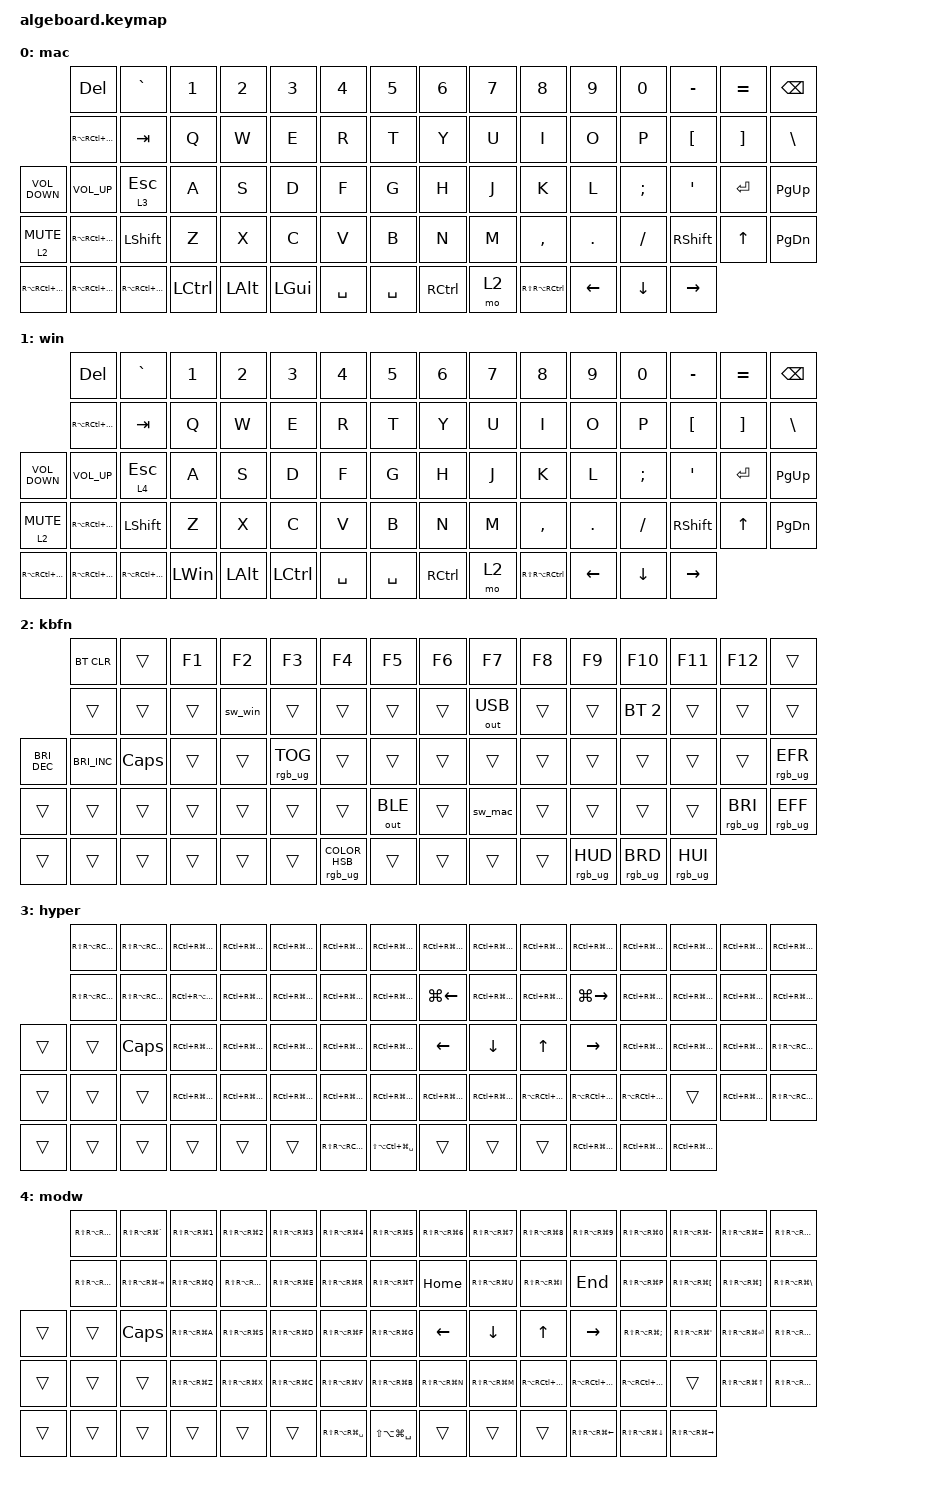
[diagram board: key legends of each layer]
/*
 * Copyright (c) 2020 The ZMK Contributors
 *
 * SPDX-License-Identifier: MIT
 */

#include <behaviors.dtsi>
#include <dt-bindings/zmk/bt.h>
#include <dt-bindings/zmk/keys.h>
#include <dt-bindings/zmk/outputs.h>
#include <dt-bindings/zmk/rgb.h>

/ {
    combos {
        compatible = "zmk,combos";

        hg_minus {
            bindings = <&kp MINUS>;
            key-positions = <37 38>;
        };

        xh_underscore {
            bindings = <&kp UNDERSCORE>;
            key-positions = <50 38>;
        };

        js_plus {
            bindings = <&kp PLUS>;
            key-positions = <34 39>;
        };

        dy_equal {
            bindings = <&kp EQUAL>;
            key-positions = <35 22>;
        };

        dk_lbrace {
            bindings = <&kp LEFT_BRACE>;
            key-positions = <35 40>;
        };

        dl_rbrace {
            bindings = <&kp RIGHT_BRACE>;
            key-positions = <35 41>;
        };

        vk_lbracket {
            bindings = <&kp LEFT_BRACKET>;
            key-positions = <52 40>;
        };

        vl_rbracket {
            bindings = <&kp RIGHT_BRACKET>;
            key-positions = <52 41>;
        };

        xk_lparenthesis {
            bindings = <&kp LEFT_PARENTHESIS>;
            key-positions = <50 40>;
        };

        xl_rparenthesis {
            bindings = <&kp RIGHT_PARENTHESIS>;
            key-positions = <50 41>;
        };

        vy_backslash {
            bindings = <&kp BACKSLASH>;
            key-positions = <52 22>;
        };

        ux_pipe {
            bindings = <&kp PIPE>;
            key-positions = <50 23>;
        };

        dm_grave {
            bindings = <&kp GRAVE>;
            key-positions = <35 55>;
        };

        bl_tide {
            bindings = <&kp TILDE>;
            key-positions = <53 41>;
        };
    };

    macros {
        sw_win: switchto_win {
            compatible = "zmk,behavior-macro";
            #binding-cells = <0>;
            bindings = <&kp LG(LA(F11)) &to 1 &bt BT_SEL 1>;
            label = "SWITCHTO_WIN";
        };

        sw_mac: switchto_mac {
            compatible = "zmk,behavior-macro";
            #binding-cells = <0>;
            bindings = <&kp LC(LA(F11)) &to 0 &bt BT_SEL 0>;
            label = "SWITCHTO_MAC";
        };
    };

    keymap {
        compatible = "zmk,keymap";

        mac {
            bindings = <
                      &kp DEL                   &kp GRAVE              &kp N1     &kp N2    &kp N3    &kp N4     &kp N5     &kp N6     &kp N7  &kp N8             &kp N9    &kp N0     &kp MINUS   &kp EQUAL  &kp BACKSPACE
                      &kp RA(RC(RG(DELETE)))    &kp TAB                &kp Q      &kp W     &kp E     &kp R      &kp T      &kp Y      &kp U   &kp I              &kp O     &kp P      &kp LBKT    &kp RBKT   &kp BACKSLASH
&kp C_VOLUME_DOWN     &kp C_VOLUME_UP           &lt 3 ESCAPE           &kp A      &kp S     &kp D     &kp F      &kp G      &kp H      &kp J   &kp K              &kp L     &kp SEMI   &kp SQT     &kp ENTER  &kp PG_UP
&lt 2 C_MUTE          &kp RA(RC(RG(UP_ARROW)))  &kp LSHIFT             &kp Z      &kp X     &kp C     &kp V      &kp B      &kp N      &kp M   &kp COMMA          &kp DOT   &kp SLASH  &kp RSHIFT  &kp UP     &kp PG_DN
&kp RA(RC(RG(LEFT)))  &kp RA(RC(RG(DOWN)))      &kp RA(RC(RG(RIGHT)))  &kp LCTRL  &kp LALT  &kp LGUI  &kp SPACE  &kp SPACE  &kp RCTRL  &mo 2   &kp RS(RA(RCTRL))  &kp LEFT  &kp DOWN   &kp RIGHT
            >;
        };

        win {
            bindings = <
                      &kp DEL                   &kp GRAVE              &kp N1    &kp N2    &kp N3     &kp N4     &kp N5     &kp N6     &kp N7  &kp N8             &kp N9    &kp N0     &kp MINUS   &kp EQUAL  &kp BACKSPACE
                      &kp RA(RC(RG(DELETE)))    &kp TAB                &kp Q     &kp W     &kp E      &kp R      &kp T      &kp Y      &kp U   &kp I              &kp O     &kp P      &kp LBKT    &kp RBKT   &kp BACKSLASH
&kp C_VOLUME_DOWN     &kp C_VOLUME_UP           &lt 4 ESCAPE           &kp A     &kp S     &kp D      &kp F      &kp G      &kp H      &kp J   &kp K              &kp L     &kp SEMI   &kp SQT     &kp ENTER  &kp PG_UP
&lt 2 C_MUTE          &kp RA(RC(RG(UP_ARROW)))  &kp LSHIFT             &kp Z     &kp X     &kp C      &kp V      &kp B      &kp N      &kp M   &kp COMMA          &kp DOT   &kp SLASH  &kp RSHIFT  &kp UP     &kp PG_DN
&kp RA(RC(RG(LEFT)))  &kp RA(RC(RG(DOWN)))      &kp RA(RC(RG(RIGHT)))  &kp LWIN  &kp LALT  &kp LCTRL  &kp SPACE  &kp SPACE  &kp RCTRL  &mo 2   &kp RS(RA(RCTRL))  &kp LEFT  &kp DOWN   &kp RIGHT
            >;
        };

        kbfn {
            bindings = <
                      &bt BT_CLR            &trans    &kp F1  &kp F2   &kp F3           &kp F4                          &kp F5        &kp F6  &kp F7        &kp F8  &kp F9           &kp F10          &kp F11          &kp F12          &trans
                      &trans                &trans    &trans  &sw_win  &trans           &trans                          &trans        &trans  &out OUT_USB  &trans  &trans           &bt BT_SEL 2     &trans           &trans           &trans
&kp C_BRIGHTNESS_DEC  &kp C_BRIGHTNESS_INC  &kp CAPS  &trans  &trans   &rgb_ug RGB_TOG  &trans                          &trans        &trans  &trans        &trans  &trans           &trans           &trans           &trans           &rgb_ug RGB_EFR
&trans                &trans                &trans    &trans  &trans   &trans           &trans                          &out OUT_BLE  &trans  &sw_mac       &trans  &trans           &trans           &trans           &rgb_ug RGB_BRI  &rgb_ug RGB_EFF
&trans                &trans                &trans    &trans  &trans   &trans           &rgb_ug RGB_COLOR_HSB(0,0,100)  &trans        &trans  &trans        &trans  &rgb_ug RGB_HUD  &rgb_ug RGB_BRD  &rgb_ug RGB_HUI
            >;
        };

        hyper {
            bindings = <
        &kp RS(RA(RC(RG(DELETE))))       &kp RS(RA(RC(RG(GRAVE))))  &kp RC(RG(RA(RS(N1))))  &kp RC(RG(RA(RS(N2))))  &kp RC(RG(RA(RS(N3))))  &kp RC(RG(RA(RS(N4))))     &kp RC(RG(RA(RS(N5))))     &kp RC(RG(RA(RS(N6))))  &kp RC(RG(RA(RS(N7))))  &kp RC(RG(RA(RS(N8))))  &kp RC(RG(RA(RS(N9))))    &kp RC(RG(RA(RS(N0))))    &kp RC(RG(RA(RS(MINUS))))  &kp RC(RG(RA(RS(EQUAL))))  &kp RC(RG(RA(RS(BACKSPACE))))
        &kp RS(RA(RC(RG(PRINTSCREEN))))  &kp RS(RA(RC(RG(TAB))))    &kp RC(RA(RS(Q)))       &kp RC(RG(RA(RS(W))))   &kp RC(RG(RA(RS(E))))   &kp RC(RG(RA(RS(R))))      &kp RC(RG(RA(RS(T))))      &kp LG(LEFT)            &kp RC(RG(RA(RS(U))))   &kp RC(RG(RA(RS(I))))   &kp LG(RIGHT)             &kp RC(RG(RA(RS(P))))     &kp RC(RG(RA(RS(LBKT))))   &kp RC(RG(RA(RS(RBKT))))   &kp RC(RG(RA(RS(BACKSLASH))))
&trans  &trans                           &kp CAPS                   &kp RC(RG(RA(RS(A))))   &kp RC(RG(RA(RS(S))))   &kp RC(RG(RA(RS(D))))   &kp RC(RG(RA(RS(F))))      &kp RC(RG(RA(RS(G))))      &kp LEFT                &kp DOWN                &kp UP                  &kp RIGHT                 &kp RC(RG(RA(RS(SEMI))))  &kp RC(RG(RA(RS(SQT))))    &kp RC(RG(RA(RS(ENTER))))  &kp RS(RA(RC(RG(PG_UP))))
&trans  &trans                           &trans                     &kp RC(RG(RA(RS(Z))))   &kp RC(RG(RA(RS(X))))   &kp RC(RG(RA(RS(C))))   &kp RC(RG(RA(RS(V))))      &kp RC(RG(RA(RS(B))))      &kp RC(RG(RA(RS(N))))   &kp RC(RG(RA(RS(M))))   &kp RA(RC(RG(COMMA)))   &kp RA(RC(RG(PERIOD)))    &kp RA(RC(RG(SLASH)))     &trans                     &kp RC(RG(RA(RS(UP))))     &kp RS(RA(RC(RG(PG_DN))))
&trans  &trans                           &trans                     &trans                  &trans                  &trans                  &kp RS(RA(RC(RG(SPACE))))  &kp LS(LA(LC(LG(SPACE))))  &trans                  &trans                  &trans                  &kp RC(RG(RA(RS(LEFT))))  &kp RC(RG(RA(RS(DOWN))))  &kp RC(RG(RA(RS(RIGHT))))
            >;
        };

        modw {
            bindings = <
        &kp RS(RA(RG(DELETE)))       &kp RS(RA(RG(GRAVE)))  &kp RS(RA(RG(N1)))  &kp RS(RA(RG(N2)))  &kp RS(RA(RG(N3)))  &kp RS(RA(RG(N4)))     &kp RS(RA(RG(N5)))     &kp RS(RA(RG(N6)))  &kp RS(RA(RG(N7)))  &kp RS(RA(RG(N8)))     &kp RS(RA(RG(N9)))      &kp RS(RA(RG(N0)))     &kp RS(RA(RG(MINUS)))  &kp RS(RA(RG(EQUAL)))  &kp RS(RA(RG(BACKSPACE)))
        &kp RS(RA(RG(PRINTSCREEN)))  &kp RS(RA(RG(TAB)))    &kp RS(RA(RG(Q)))   &kp RS(RA(RG(W)))   &kp RS(RA(RG(E)))   &kp RS(RA(RG(R)))      &kp RS(RA(RG(T)))      &kp HOME            &kp RS(RA(RG(U)))   &kp RS(RA(RG(I)))      &kp END                 &kp RS(RA(RG(P)))      &kp RS(RA(RG(LBKT)))   &kp RS(RA(RG(RBKT)))   &kp RS(RA(RG(BACKSLASH)))
&trans  &trans                       &kp CAPS               &kp RS(RA(RG(A)))   &kp RS(RA(RG(S)))   &kp RS(RA(RG(D)))   &kp RS(RA(RG(F)))      &kp RS(RA(RG(G)))      &kp LEFT            &kp DOWN            &kp UP                 &kp RIGHT               &kp RS(RA(RG(SEMI)))   &kp RS(RA(RG(SQT)))    &kp RS(RA(RG(ENTER)))  &kp RS(RA(RG(PG_UP)))
&trans  &trans                       &trans                 &kp RS(RA(RG(Z)))   &kp RS(RA(RG(X)))   &kp RS(RA(RG(C)))   &kp RS(RA(RG(V)))      &kp RS(RA(RG(B)))      &kp RS(RA(RG(N)))   &kp RS(RA(RG(M)))   &kp RA(RC(RG(COMMA)))  &kp RA(RC(RG(PERIOD)))  &kp RA(RC(RG(SLASH)))  &trans                 &kp RS(RA(RG(UP)))     &kp RS(RA(RG(PG_DN)))
&trans  &trans                       &trans                 &trans              &trans              &trans              &kp RS(RA(RG(SPACE)))  &kp LS(LA(LG(SPACE)))  &trans              &trans              &trans                 &kp RS(RA(RG(LEFT)))    &kp RS(RA(RG(DOWN)))   &kp RS(RA(RG(RIGHT)))
            >;
        };
    };
};
